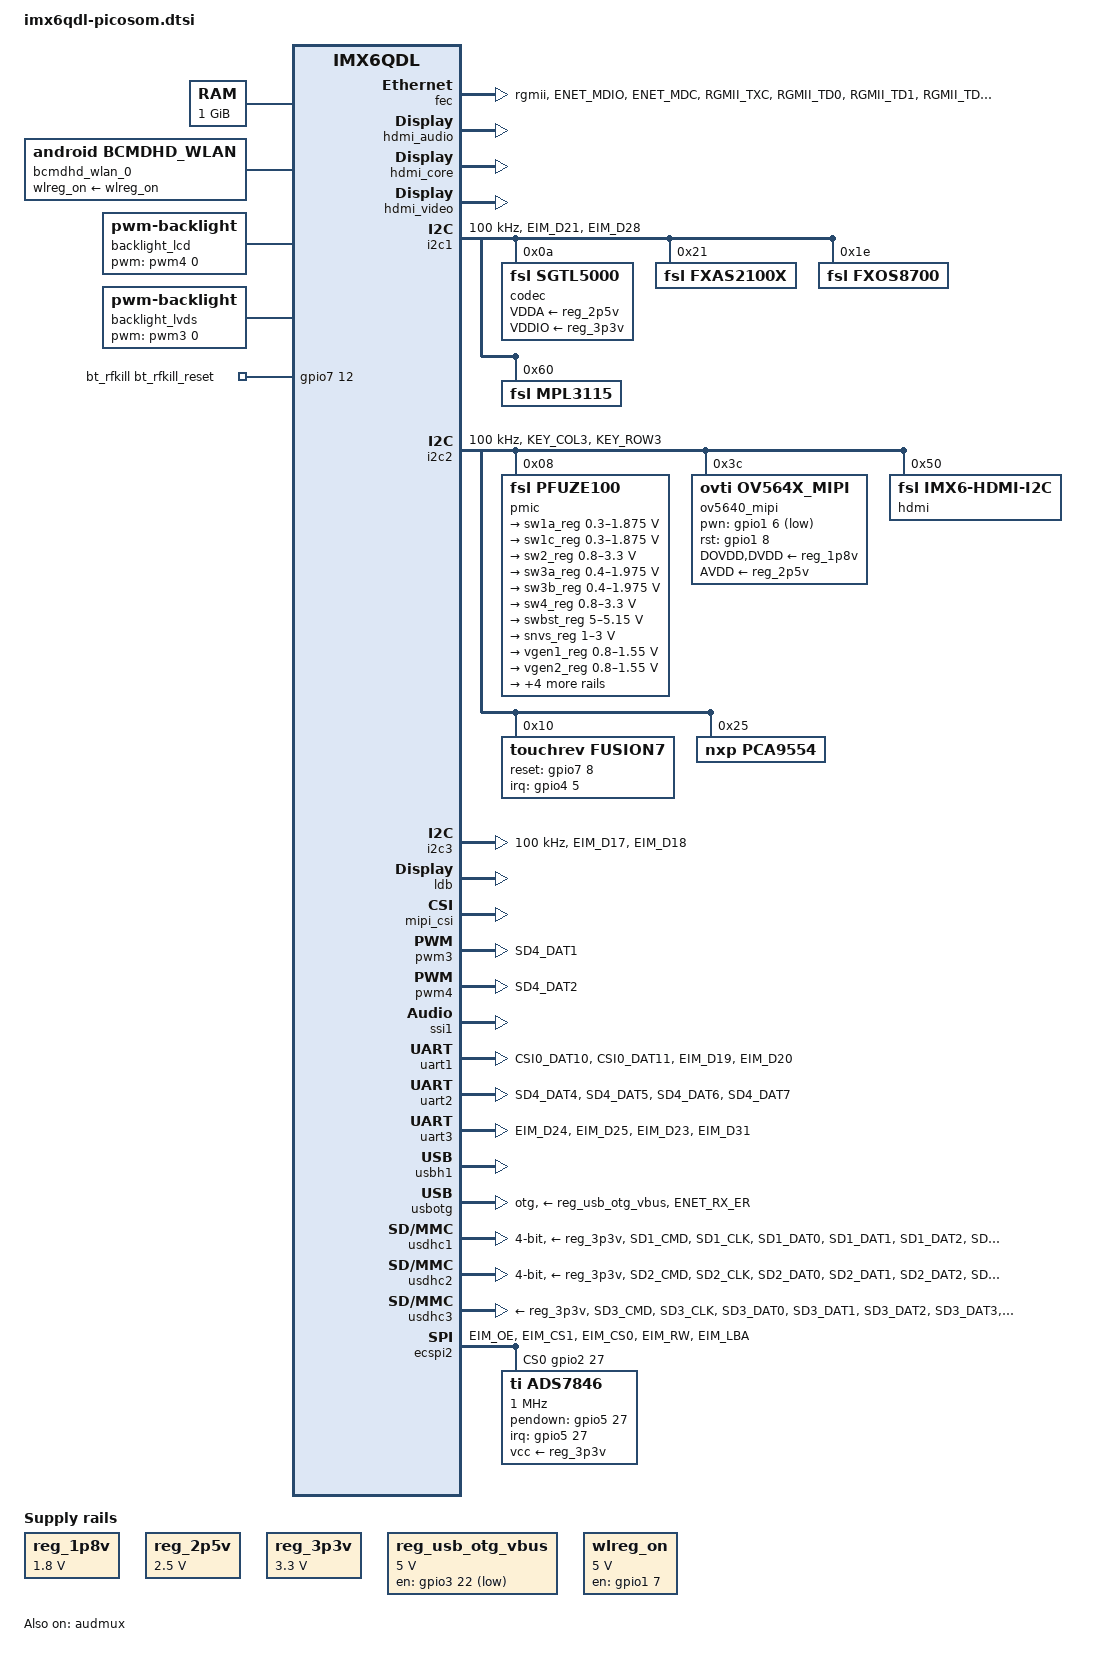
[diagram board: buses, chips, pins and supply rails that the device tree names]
/*
 * Copyright 2015 Technexion Ltd.
 * Copyright 2012 Freescale Semiconductor, Inc.
 * Copyright 2011 Linaro Ltd.
 *
 * The code contained herein is licensed under the GNU General Public
 * License. You may obtain a copy of the GNU General Public License
 * Version 2 or later at the following locations:
 *
 * http://www.opensource.org/licenses/gpl-license.html
 * http://www.gnu.org/copyleft/gpl.html
 */

/ {
	aliases {
		mxcfb0 = &mxcfb1;
		mxcfb1 = &mxcfb2;
		mxcfb2 = &mxcfb3;
		mxcfb3 = &mxcfb4;
	};

	memory {
		reg = <0x10000000 0x40000000>;
	};

	regulators {
		compatible = "simple-bus";

		reg_1p8v: 1p8v {
			compatible = "regulator-fixed";
			regulator-name = "1P8V";
			regulator-min-microvolt = <1800000>;
			regulator-max-microvolt = <1800000>;
			regulator-always-on;
		};

		reg_2p5v: 2p5v {
			compatible = "regulator-fixed";
			regulator-name = "2P5V";
			regulator-min-microvolt = <2500000>;
			regulator-max-microvolt = <2500000>;
			regulator-always-on;
		};

		reg_3p3v: 3p3v {
			compatible = "regulator-fixed";
			regulator-name = "3P3V";
			regulator-min-microvolt = <3300000>;
			regulator-max-microvolt = <3300000>;
			regulator-always-on;
		};

		reg_usb_otg_vbus: usb_otg_vbus {
			compatible = "regulator-fixed";
			regulator-name = "usb_otg_vbus";
			regulator-min-microvolt = <5000000>;
			regulator-max-microvolt = <5000000>;
			gpio = <&gpio3 22 0>;
		};

		wlreg_on: wlreg_on {
			compatible = "regulator-fixed";
			regulator-min-microvolt = <5000000>;
			regulator-max-microvolt = <5000000>;
			regulator-name = "wlreg_on";
			gpio = <&gpio1 7 GPIO_ACTIVE_HIGH>;
			enable-active-high;
		};
	};

	bcmdhd_wlan_0: bcmdhd_wlan@0 {
		compatible = "android,bcmdhd_wlan";
		pinctrl-0 = <&pinctrl_wifi_ctrl>;
		wlreg_on-supply = <&wlreg_on>;
	};

	gpio-edm {
		compatible = "gpio-edm";
		gpio_exp0 {
			label = "GPIO_EXP0";
			gpios = <&pca9554 0 0>;
			dir   = "in";
		};
		gpio_exp1 {
			label = "GPIO_EXP1";
			gpios = <&pca9554 1 0>;
			dir   = "in";
		};
		gpio_exp2 {
			label = "GPIO_EXP2";
			gpios = <&pca9554 2 0>;
			dir   = "in";
		};
		gpio_exp3 {
			label = "GPIO_EXP3";
			gpios = <&pca9554 3 0>;
			dir   = "in";
		};
		gpio_exp4 {
			label = "GPIO_EXP4";
			gpios = <&pca9554 4 0>;
			dir   = "in";
		};
		gpio_exp5 {
			label = "GPIO_EXP5";
			gpios = <&pca9554 5 0>;
			dir   = "in";
		};
	};

	sound {
		compatible = "fsl,imx6-picosom-sgtl5000", 
                             "fsl,imx-audio-sgtl5000";
		model = "sgtl5000-audio";
		cpu-dai = <&ssi1>;
		audio-codec = <&codec>;
		audio-routing =
			"MIC_IN", "Mic Jack",
			"Mic Jack", "Mic Bias",
			"Headphone Jack", "HP_OUT";
		mux-int-port = <1>;
		mux-ext-port = <3>;
	};

        sound-spdif {
                compatible = "fsl,imx-audio-spdif";
                model = "imx-spdif";
                spdif-controller = <&spdif>;
                spdif-out;
        };

	sound-hdmi {
		compatible = "fsl,imx6q-audio-hdmi",
			     "fsl,imx-audio-hdmi";
		model = "imx-audio-hdmi";
		hdmi-controller = <&hdmi_audio>;
	};

	mxcfb1: fb@0 {
		compatible = "fsl,mxc_sdc_fb";
		disp_dev = "hdmi";
		interface_pix_fmt = "RGB24";
		mode_str ="1920x1080M@60";
		default_bpp = <32>;
		int_clk = <0>;
		late_init = <0>;
		status = "disabled";
	};

        mxcfb2: fb@1 {
                compatible = "fsl,mxc_sdc_fb";
                disp_dev = "ldb";
                interface_pix_fmt = "RGB666";
                default_bpp = <24>;
                int_clk = <0>;
                late_init = <0>;
                status = "disabled";
        };

	mxcfb3: fb@2 {
		compatible = "fsl,mxc_sdc_fb";
		disp_dev = "lcd";
		interface_pix_fmt = "RGB565";
		mode_str ="CLAA-WVGA";
		default_bpp = <16>;
		int_clk = <0>;
		late_init = <0>;
		status = "disabled";
	};

	mxcfb4: fb@3 {
		compatible = "fsl,mxc_sdc_fb";
		disp_dev = "ldb";
		interface_pix_fmt = "RGB666";
		mode_str ="LDB-XGA";
		default_bpp = <16>;
		int_clk = <0>;
		late_init = <0>;
		status = "disabled";
	};

	lcd@0 {
		compatible = "fsl,lcd";
		ipu_id = <0>;
		disp_id = <0>;
		default_ifmt = "RGB565";
		pinctrl-names = "default";
		pinctrl-0 = <&pinctrl_ipu1_1>;
		status = "okay";
	};

	backlight_lcd {
		compatible = "pwm-backlight";
		pwms = <&pwm4 0 5000000>;
		brightness-levels = <0 4 8 16 32 64 128 255>;
		default-brightness-level = <7>;
	};

	backlight_lvds {
		compatible = "pwm-backlight";
		pwms = <&pwm3 0 5000000>;
		brightness-levels = <0 4 8 16 32 64 128 255>;
		default-brightness-level = <7>;
	};

	v4l2_cap_0 {
		compatible = "fsl,imx6q-v4l2-capture";
		ipu_id = <0>;
		csi_id = <0>;
		mclk_source = <0>;
		status = "okay";
	};

	v4l2_out {
		compatible = "fsl,mxc_v4l2_output";
		status = "okay";
	};

	bt_rfkill {
		compatible = "net,rfkill-gpio";
		pinctrl-names = "default";
		pinctrl-0 = <&pinctrl_bt_ctrl>;
		name = "bt_rfkill";
		type = <2>;     /* bluetooth */
		bt_rfkill_reset-gpios = <&gpio7 12 0>;
	};
};


&audmux {
	pinctrl-names = "default";
	pinctrl-0 = <&pinctrl_audmux_2>;
	status = "okay";
};

&clks {
    fsl,ldb-di0-parent = <&clks IMX6QDL_CLK_PLL2_PFD0_352M>;
    fsl,ldb-di1-parent = <&clks IMX6QDL_CLK_PLL2_PFD0_352M>;
};

&fec {
	pinctrl-names = "default";
	pinctrl-0 = <&pinctrl_enet_3>;
	phy-mode = "rgmii";
	status = "okay";
};

&hdmi_audio {
	status = "okay";
};

&hdmi_core {
	ipu_id = <0>;
	disp_id = <0>;
	status = "okay";
};

&hdmi_video {
	fsl,phy_reg_vlev = <0x0294>;
	fsl,phy_reg_cksymtx = <0x800d>;
	status = "okay";
};

&i2c1 {
	clock-frequency = <100000>;
	pinctrl-names = "default";
	pinctrl-0 = <&pinctrl_i2c1_1>;
	status = "okay";

	codec: sgtl5000@0a {
		compatible = "fsl,sgtl5000";
		reg = <0x0a>;
		clocks = <&clks 201>;
		VDDA-supply = <&reg_2p5v>;
		VDDIO-supply = <&reg_3p3v>;
	};

	fxas2100x@21 {
		compatible = "fsl,fxas2100x";
		reg = <0x21>;
	};

	fxos8700@1e {
		compatible = "fsl,fxos8700";
		reg = <0x1e>;
	};

	mpl3115@60 {
		compatible = "fsl,mpl3115";
		reg = <0x60>;
	};
};

&i2c2 {
	clock-frequency = <100000>;
	pinctrl-names = "default";
	pinctrl-0 = <&pinctrl_i2c2_2>;
	status = "okay";

	pmic: pfuze100@08 {
		compatible = "fsl,pfuze100";
		reg = <0x08>;

		regulators {
			sw1a_reg: sw1ab {
				regulator-min-microvolt = <300000>;
				regulator-max-microvolt = <1875000>;
				regulator-boot-on;
				regulator-always-on;
				regulator-ramp-delay = <6250>;
			};

			sw1c_reg: sw1c {
				regulator-min-microvolt = <300000>;
				regulator-max-microvolt = <1875000>;
				regulator-boot-on;
				regulator-always-on;
				regulator-ramp-delay = <6250>;
			};

			sw2_reg: sw2 {
				regulator-min-microvolt = <800000>;
				regulator-max-microvolt = <3300000>;
				regulator-boot-on;
				regulator-always-on;
			};

			sw3a_reg: sw3a {
				regulator-min-microvolt = <400000>;
				regulator-max-microvolt = <1975000>;
				regulator-boot-on;
				regulator-always-on;
			};

			sw3b_reg: sw3b {
				regulator-min-microvolt = <400000>;
				regulator-max-microvolt = <1975000>;
				regulator-boot-on;
				regulator-always-on;
			};

			sw4_reg: sw4 {
				regulator-min-microvolt = <800000>;
				regulator-max-microvolt = <3300000>;
			};

			swbst_reg: swbst {
				regulator-min-microvolt = <5000000>;
				regulator-max-microvolt = <5150000>;
			};

			snvs_reg: vsnvs {
				regulator-min-microvolt = <1000000>;
				regulator-max-microvolt = <3000000>;
				regulator-boot-on;
				regulator-always-on;
			};

			vref_reg: vrefddr {
				regulator-boot-on;
				regulator-always-on;
			};

			vgen1_reg: vgen1 {
				regulator-min-microvolt = <800000>;
				regulator-max-microvolt = <1550000>;
			};

			vgen2_reg: vgen2 {
				regulator-min-microvolt = <800000>;
				regulator-max-microvolt = <1550000>;
				regulator-microvolts = <1500000>;
				regulator-microvolt = <1500000>;
				regulator-boot-on;
				regulator-always-on;
			};

			vgen3_reg: vgen3 {
				regulator-min-microvolt = <1800000>;
				regulator-max-microvolt = <3300000>;
			};

			vgen4_reg: vgen4 {
				regulator-min-microvolt = <1800000>;
				regulator-max-microvolt = <3300000>;
				regulator-always-on;
			};

			vgen5_reg: vgen5 {
				regulator-min-microvolt = <1800000>;
				regulator-max-microvolt = <3300000>;
				regulator-always-on;
			};

			vgen6_reg: vgen6 {
				regulator-min-microvolt = <1800000>;
				regulator-max-microvolt = <3300000>;
				regulator-always-on;
			};
		};
	};

	ov5640_mipi: ov5640_mipi@3c {
		compatible = "ovti,ov564x_mipi";
		reg = <0x3c>;
		clocks = <&clks 200>;
		clock-names = "csi_mclk";
		DOVDD-supply = <&reg_1p8v>;
		AVDD-supply = <&reg_2p5v>;
		DVDD-supply = <&reg_1p8v>;
		pwn-gpios = <&gpio1 6 1>;
		rst-gpios = <&gpio1 8 0>;
		ipu_id = <0>;
		csi_id = <0>;
		mclk = <24000000>;
		mclk_source = <0>;
	};

		hdmi: edid@50 {
		compatible = "fsl,imx6-hdmi-i2c";
		reg = <0x50>;
	};

	fusion7: fusion7@10 {
		compatible = "touchrev,fusion7";
		reg = <0x10>; /* The reg property describes the address of the device's resources within the address space defined by its parent bus.  */
		pinctrl-0 = <&pinctrl_gpio>;
		pinctrl-names = "default";
		interrupt-parent = <&gpio4>;
		interrupts = <5 0>;
		reset-gpios=<&gpio7 8 0>; /*pin264  SD3_RST GPIO(7, 8)   gpio200   Touchscreen Reset  Output*/
		touch_xmax=<1499>;
		touch_ymax=<899>;
		flip_x=<0>;
		flip_y=<0>;
	};

	pca9554: pca9554@25 {
		compatible = "nxp,pca9554";
		gpio-controller;
		#gpio-cells = <2>;
		#interrupt-cells = <2>;
		reg = <0x25>;
	};

};

&i2c3 {
        clock-frequency = <100000>;
        pinctrl-names = "default";
        pinctrl-0 = <&pinctrl_i2c3_1>;
        status = "okay";
};

/*
For reference here, the PAD_CTL bitfield definition from
Documentation/devicetree/bindings/pinctrl/fsl,imx6q-pinctrl.txt

CONFIG bits definition:
PAD_CTL_HYS                     (1 << 16)
PAD_CTL_PUS_100K_DOWN           (0 << 14)
PAD_CTL_PUS_47K_UP              (1 << 14)
PAD_CTL_PUS_100K_UP             (2 << 14)
PAD_CTL_PUS_22K_UP              (3 << 14)
PAD_CTL_PUE                     (1 << 13)
PAD_CTL_PKE                     (1 << 12)
PAD_CTL_ODE                     (1 << 11)
PAD_CTL_SPEED_LOW               (1 << 6)
PAD_CTL_SPEED_MED               (2 << 6)
PAD_CTL_SPEED_HIGH              (3 << 6)
PAD_CTL_DSE_DISABLE             (0 << 3)
PAD_CTL_DSE_240ohm              (1 << 3)
PAD_CTL_DSE_120ohm              (2 << 3)
PAD_CTL_DSE_80ohm               (3 << 3)
PAD_CTL_DSE_60ohm               (4 << 3)
PAD_CTL_DSE_48ohm               (5 << 3)
PAD_CTL_DSE_40ohm               (6 << 3)
PAD_CTL_DSE_34ohm               (7 << 3)
PAD_CTL_SRE_FAST                (1 << 0)
PAD_CTL_SRE_SLOW                (0 << 0)

Example, the Control Pad Setting

    0x0f0b0

corresponds to:

   0b1111000010110000

which is:

   PAD_CTL_PUS_22K_UP | PAD_CTL_PUE | PAD_CTL_PKE |
   PAD_CTL_SPEED_MED | PAD_CTL_DSE_40ohm

For more information about this, refer to the IOMUXC section of the i.MX6
reference manual.

*/

&iomuxc {

	pinctrl-names = "default";
	pinctrl-0 = <&pinctrl_hog_1>;

	audmux {
		pinctrl_audmux_1: audmux-1 {
			fsl,pins = <
				MX6QDL_PAD_SD2_DAT0__AUD4_RXD  0x130b0
				MX6QDL_PAD_SD2_DAT3__AUD4_TXC  0x130b0
				MX6QDL_PAD_SD2_DAT2__AUD4_TXD  0x110b0
				MX6QDL_PAD_SD2_DAT1__AUD4_TXFS 0x130b0
			>;
		};

		pinctrl_audmux_2: audmux-2 {
			fsl,pins = <
				MX6QDL_PAD_CSI0_DAT7__AUD3_RXD  0x130b0
				MX6QDL_PAD_CSI0_DAT4__AUD3_TXC  0x130b0
				MX6QDL_PAD_CSI0_DAT5__AUD3_TXD  0x110b0
				MX6QDL_PAD_CSI0_DAT6__AUD3_TXFS 0x130b0
			>;
		};

		pinctrl_audmux_3: audmux-3 {
			fsl,pins = <
				MX6QDL_PAD_DISP0_DAT16__AUD5_TXC  0x130b0
				MX6QDL_PAD_DISP0_DAT18__AUD5_TXFS 0x130b0
				MX6QDL_PAD_DISP0_DAT19__AUD5_RXD  0x130b0
			>;
		};
	};

	ecspi1 {
		pinctrl_ecspi1_cs_1: ecspi1_cs_grp-1 {
			fsl,pins = <
				MX6QDL_PAD_EIM_D19__GPIO3_IO19 0x80000000
			>;
		};

		pinctrl_ecspi1_1: ecspi1grp-1 {
			fsl,pins = <
				MX6QDL_PAD_EIM_D17__ECSPI1_MISO 0x100b1
				MX6QDL_PAD_EIM_D18__ECSPI1_MOSI 0x100b1
				MX6QDL_PAD_EIM_D16__ECSPI1_SCLK 0x100b1
			>;
		};

		pinctrl_ecspi1_2: ecspi1grp-2 {
			fsl,pins = <
				MX6QDL_PAD_KEY_COL1__ECSPI1_MISO 0x100b1
				MX6QDL_PAD_KEY_ROW0__ECSPI1_MOSI 0x100b1
				MX6QDL_PAD_KEY_COL0__ECSPI1_SCLK 0x100b1
			>;
		};
	};

	ecspi3 {
		pinctrl_ecspi3_1: ecspi3grp-1 {
			fsl,pins = <
				MX6QDL_PAD_DISP0_DAT2__ECSPI3_MISO 0x100b1
				MX6QDL_PAD_DISP0_DAT1__ECSPI3_MOSI 0x100b1
				MX6QDL_PAD_DISP0_DAT0__ECSPI3_SCLK 0x100b1
			>;
		};
	};

	enet {
		pinctrl_enet_1: enetgrp-1 {
			fsl,pins = <
				MX6QDL_PAD_ENET_MDIO__ENET_MDIO       0x1b0b0
				MX6QDL_PAD_ENET_MDC__ENET_MDC         0x1b0b0
				MX6QDL_PAD_RGMII_TXC__RGMII_TXC       0x1b0b0
				MX6QDL_PAD_RGMII_TD0__RGMII_TD0       0x1b0b0
				MX6QDL_PAD_RGMII_TD1__RGMII_TD1       0x1b0b0
				MX6QDL_PAD_RGMII_TD2__RGMII_TD2       0x1b0b0
				MX6QDL_PAD_RGMII_TD3__RGMII_TD3       0x1b0b0
				MX6QDL_PAD_RGMII_TX_CTL__RGMII_TX_CTL 0x1b0b0
				MX6QDL_PAD_ENET_REF_CLK__ENET_TX_CLK  0x1b0b0
				MX6QDL_PAD_RGMII_RXC__RGMII_RXC       0x1b0b0
				MX6QDL_PAD_RGMII_RD0__RGMII_RD0       0x1b0b0
				MX6QDL_PAD_RGMII_RD1__RGMII_RD1       0x1b0b0
				MX6QDL_PAD_RGMII_RD2__RGMII_RD2       0x1b0b0
				MX6QDL_PAD_RGMII_RD3__RGMII_RD3       0x1b0b0
				MX6QDL_PAD_RGMII_RX_CTL__RGMII_RX_CTL 0x1b0b0
				MX6QDL_PAD_GPIO_16__ENET_REF_CLK      0x4001b0a8
			>;
		};

		pinctrl_enet_2: enetgrp-2 {
			fsl,pins = <
				MX6QDL_PAD_KEY_COL1__ENET_MDIO        0x1b0b0
				MX6QDL_PAD_KEY_COL2__ENET_MDC         0x1b0b0
				MX6QDL_PAD_RGMII_TXC__RGMII_TXC       0x1b0b0
				MX6QDL_PAD_RGMII_TD0__RGMII_TD0       0x1b0b0
				MX6QDL_PAD_RGMII_TD1__RGMII_TD1       0x1b0b0
				MX6QDL_PAD_RGMII_TD2__RGMII_TD2       0x1b0b0
				MX6QDL_PAD_RGMII_TD3__RGMII_TD3       0x1b0b0
				MX6QDL_PAD_RGMII_TX_CTL__RGMII_TX_CTL 0x1b0b0
				MX6QDL_PAD_ENET_REF_CLK__ENET_TX_CLK  0x1b0b0
				MX6QDL_PAD_RGMII_RXC__RGMII_RXC       0x1b0b0
				MX6QDL_PAD_RGMII_RD0__RGMII_RD0       0x1b0b0
				MX6QDL_PAD_RGMII_RD1__RGMII_RD1       0x1b0b0
				MX6QDL_PAD_RGMII_RD2__RGMII_RD2       0x1b0b0
				MX6QDL_PAD_RGMII_RD3__RGMII_RD3       0x1b0b0
				MX6QDL_PAD_RGMII_RX_CTL__RGMII_RX_CTL 0x1b0b0
				MX6QDL_PAD_GPIO_16__ENET_REF_CLK      0x4001b0a8
			>;
		};

		pinctrl_enet_3: enetgrp-3 {
			fsl,pins = <
				MX6QDL_PAD_ENET_MDIO__ENET_MDIO       0x1b0b0
				MX6QDL_PAD_ENET_MDC__ENET_MDC         0x1b0b0
				MX6QDL_PAD_RGMII_TXC__RGMII_TXC       0x1b0b0
				MX6QDL_PAD_RGMII_TD0__RGMII_TD0       0x1b0b0
				MX6QDL_PAD_RGMII_TD1__RGMII_TD1       0x1b0b0
				MX6QDL_PAD_RGMII_TD2__RGMII_TD2       0x1b0b0
				MX6QDL_PAD_RGMII_TD3__RGMII_TD3       0x1b0b0
				MX6QDL_PAD_RGMII_TX_CTL__RGMII_TX_CTL 0x1b0b0
				MX6QDL_PAD_ENET_REF_CLK__ENET_TX_CLK  0x1b0b0
				MX6QDL_PAD_RGMII_RXC__RGMII_RXC       0x1b0b0
				MX6QDL_PAD_RGMII_RD0__RGMII_RD0       0x1b0b0
				MX6QDL_PAD_RGMII_RD1__RGMII_RD1       0x1b0b0
				MX6QDL_PAD_RGMII_RD2__RGMII_RD2       0x1b0b0
				MX6QDL_PAD_RGMII_RD3__RGMII_RD3       0x1b0b0
				MX6QDL_PAD_RGMII_RX_CTL__RGMII_RX_CTL 0x1b0b0
				MX6QDL_PAD_ENET_TX_EN__ENET_TX_EN     0x1b0b0
			>;
		};

		pinctrl_enet_irq: enetirqgrp {
			fsl,pins = <
				MX6QDL_PAD_GPIO_6__ENET_IRQ	      0x000b1
			>;
		};
	};

	esai {
		pinctrl_esai_1: esaigrp-1 {
			fsl,pins = <
				MX6QDL_PAD_ENET_RXD0__ESAI_TX_HF_CLK 0x1b030
				MX6QDL_PAD_ENET_CRS_DV__ESAI_TX_CLK  0x1b030
				MX6QDL_PAD_ENET_RXD1__ESAI_TX_FS     0x1b030
				MX6QDL_PAD_ENET_TX_EN__ESAI_TX3_RX2  0x1b030
				MX6QDL_PAD_ENET_TXD1__ESAI_TX2_RX3   0x1b030
				MX6QDL_PAD_ENET_TXD0__ESAI_TX4_RX1   0x1b030
				MX6QDL_PAD_ENET_MDC__ESAI_TX5_RX0    0x1b030
				MX6QDL_PAD_NANDF_CS2__ESAI_TX0       0x1b030
				MX6QDL_PAD_NANDF_CS3__ESAI_TX1       0x1b030
			>;
		};

		pinctrl_esai_2: esaigrp-2 {
			fsl,pins = <
				MX6QDL_PAD_ENET_CRS_DV__ESAI_TX_CLK 0x1b030
				MX6QDL_PAD_ENET_RXD1__ESAI_TX_FS    0x1b030
				MX6QDL_PAD_ENET_TX_EN__ESAI_TX3_RX2 0x1b030
				MX6QDL_PAD_GPIO_5__ESAI_TX2_RX3     0x1b030
				MX6QDL_PAD_ENET_TXD0__ESAI_TX4_RX1  0x1b030
				MX6QDL_PAD_ENET_MDC__ESAI_TX5_RX0   0x1b030
				MX6QDL_PAD_GPIO_17__ESAI_TX0        0x1b030
				MX6QDL_PAD_NANDF_CS3__ESAI_TX1      0x1b030
				MX6QDL_PAD_ENET_MDIO__ESAI_RX_CLK   0x1b030
				MX6QDL_PAD_GPIO_9__ESAI_RX_FS       0x1b030
			>;
		};
	};

	flexcan1 {
		pinctrl_flexcan1_1: flexcan1grp-1 {
			fsl,pins = <
				MX6QDL_PAD_KEY_ROW2__FLEXCAN1_RX 0x80000000
				MX6QDL_PAD_KEY_COL2__FLEXCAN1_TX 0x80000000
			>;
		};

		pinctrl_flexcan1_2: flexcan1grp-2 {
			fsl,pins = <
				MX6QDL_PAD_GPIO_7__FLEXCAN1_TX   0x80000000
				MX6QDL_PAD_KEY_ROW2__FLEXCAN1_RX 0x80000000
			>;
		};
	};

	flexcan2 {
		pinctrl_flexcan2_1: flexcan2grp-1 {
			fsl,pins = <
				MX6QDL_PAD_KEY_COL4__FLEXCAN2_TX 0x80000000
				MX6QDL_PAD_KEY_ROW4__FLEXCAN2_RX 0x80000000
			>;
		};
	};

	gpmi-nand {
		pinctrl_gpmi_nand_1: gpmi-nand-1 {
			fsl,pins = <
				MX6QDL_PAD_NANDF_CLE__NAND_CLE     0xb0b1
				MX6QDL_PAD_NANDF_ALE__NAND_ALE     0xb0b1
				MX6QDL_PAD_NANDF_WP_B__NAND_WP_B   0xb0b1
				MX6QDL_PAD_NANDF_RB0__NAND_READY_B 0xb000
				MX6QDL_PAD_NANDF_CS0__NAND_CE0_B   0xb0b1
				MX6QDL_PAD_NANDF_CS1__NAND_CE1_B   0xb0b1
				MX6QDL_PAD_SD4_CMD__NAND_RE_B      0xb0b1
				MX6QDL_PAD_SD4_CLK__NAND_WE_B      0xb0b1
				MX6QDL_PAD_NANDF_D0__NAND_DATA00   0xb0b1
				MX6QDL_PAD_NANDF_D1__NAND_DATA01   0xb0b1
				MX6QDL_PAD_NANDF_D2__NAND_DATA02   0xb0b1
				MX6QDL_PAD_NANDF_D3__NAND_DATA03   0xb0b1
				MX6QDL_PAD_NANDF_D4__NAND_DATA04   0xb0b1
				MX6QDL_PAD_NANDF_D5__NAND_DATA05   0xb0b1
				MX6QDL_PAD_NANDF_D6__NAND_DATA06   0xb0b1
				MX6QDL_PAD_NANDF_D7__NAND_DATA07   0xb0b1
				MX6QDL_PAD_SD4_DAT0__NAND_DQS      0x00b1
			>;
		};
	};

	hdmi_hdcp {
		pinctrl_hdmi_hdcp_1: hdmihdcpgrp-1 {
			fsl,pins = <
				MX6QDL_PAD_KEY_COL3__HDMI_TX_DDC_SCL 0x4001b8b1
				MX6QDL_PAD_KEY_ROW3__HDMI_TX_DDC_SDA 0x4001b8b1
			>;
		};

		pinctrl_hdmi_hdcp_2: hdmihdcpgrp-2 {
			fsl,pins = <
				MX6QDL_PAD_EIM_EB2__HDMI_TX_DDC_SCL 0x4001b8b1
				MX6QDL_PAD_EIM_D16__HDMI_TX_DDC_SDA 0x4001b8b1
			>;
		};

		pinctrl_hdmi_hdcp_3: hdmihdcpgrp-3 {
			fsl,pins = <
				MX6QDL_PAD_EIM_EB2__HDMI_TX_DDC_SCL  0x4001b8b1
				MX6QDL_PAD_KEY_ROW3__HDMI_TX_DDC_SDA 0x4001b8b1
			>;
		};
	};

	hdmi_cec {
		pinctrl_hdmi_cec_1: hdmicecgrp-1 {
			fsl,pins = <
				MX6QDL_PAD_EIM_A25__HDMI_TX_CEC_LINE 0x1f8b0
			>;
		};

		pinctrl_hdmi_cec_2: hdmicecgrp-2 {
			fsl,pins = <
				MX6QDL_PAD_KEY_ROW2__HDMI_TX_CEC_LINE 0x1f8b0
			>;
		};
	};

	i2c1 {
		pinctrl_i2c1_1: i2c1grp-1 {
			fsl,pins = <
				MX6QDL_PAD_EIM_D21__I2C1_SCL 0x4001b8b1
				MX6QDL_PAD_EIM_D28__I2C1_SDA 0x4001b8b1
			>;
		};

		pinctrl_i2c1_2: i2c1grp-2 {
			fsl,pins = <
				MX6QDL_PAD_CSI0_DAT8__I2C1_SDA 0x4001b8b1
				MX6QDL_PAD_CSI0_DAT9__I2C1_SCL 0x4001b8b1
			>;
		};
	};

	i2c2 {
		pinctrl_i2c2_1: i2c2grp-1 {
			fsl,pins = <
				MX6QDL_PAD_EIM_EB2__I2C2_SCL 0x4001b8b1
				MX6QDL_PAD_EIM_D16__I2C2_SDA 0x4001b8b1
			>;
		};

		pinctrl_i2c2_2: i2c2grp-2 {
			fsl,pins = <
				MX6QDL_PAD_KEY_COL3__I2C2_SCL 0x4001b8b1
				MX6QDL_PAD_KEY_ROW3__I2C2_SDA 0x4001b8b1
			>;
		};

		pinctrl_i2c2_3: i2c2grp-3 {
			fsl,pins = <
				MX6QDL_PAD_EIM_EB2__I2C2_SCL  0x4001b8b1
				MX6QDL_PAD_KEY_ROW3__I2C2_SDA 0x4001b8b1
			>;
		};
	};

	i2c3 {
		pinctrl_i2c3_1: i2c3grp-1 {
			fsl,pins = <
				MX6QDL_PAD_EIM_D17__I2C3_SCL 0x4001b8b1
				MX6QDL_PAD_EIM_D18__I2C3_SDA 0x4001b8b1
			>;
		};

		pinctrl_i2c3_2: i2c3grp-2 {
			fsl,pins = <
				MX6QDL_PAD_GPIO_3__I2C3_SCL 0x4001b8b1
				MX6QDL_PAD_GPIO_6__I2C3_SDA 0x4001b8b1
			>;
		};

		pinctrl_i2c3_3: i2c3grp-3 {
			fsl,pins = <
				MX6QDL_PAD_GPIO_5__I2C3_SCL  0x4001b8b1
				MX6QDL_PAD_GPIO_16__I2C3_SDA 0x4001b8b1
			>;
		};

		pinctrl_i2c3_4: i2c3grp-4 {
			fsl,pins = <
				MX6QDL_PAD_GPIO_3__I2C3_SCL  0x4001b8b1
				MX6QDL_PAD_EIM_D18__I2C3_SDA 0x4001b8b1
			>;
		};
	};

	ipu1 {
		pinctrl_ipu1_1: ipu1grp-1 {
			fsl,pins = <
				MX6QDL_PAD_DI0_DISP_CLK__IPU1_DI0_DISP_CLK 0x10
				MX6QDL_PAD_DI0_PIN15__IPU1_DI0_PIN15       0x10
				MX6QDL_PAD_DI0_PIN2__IPU1_DI0_PIN02        0x10
				MX6QDL_PAD_DI0_PIN3__IPU1_DI0_PIN03        0x10
				MX6QDL_PAD_DI0_PIN4__IPU1_DI0_PIN04        0x80000000
				MX6QDL_PAD_DISP0_DAT0__IPU1_DISP0_DATA00   0x10
				MX6QDL_PAD_DISP0_DAT1__IPU1_DISP0_DATA01   0x10
				MX6QDL_PAD_DISP0_DAT2__IPU1_DISP0_DATA02   0x10
				MX6QDL_PAD_DISP0_DAT3__IPU1_DISP0_DATA03   0x10
				MX6QDL_PAD_DISP0_DAT4__IPU1_DISP0_DATA04   0x10
				MX6QDL_PAD_DISP0_DAT5__IPU1_DISP0_DATA05   0x10
				MX6QDL_PAD_DISP0_DAT6__IPU1_DISP0_DATA06   0x10
				MX6QDL_PAD_DISP0_DAT7__IPU1_DISP0_DATA07   0x10
				MX6QDL_PAD_DISP0_DAT8__IPU1_DISP0_DATA08   0x10
				MX6QDL_PAD_DISP0_DAT9__IPU1_DISP0_DATA09   0x10
				MX6QDL_PAD_DISP0_DAT10__IPU1_DISP0_DATA10  0x10
				MX6QDL_PAD_DISP0_DAT11__IPU1_DISP0_DATA11  0x10
				MX6QDL_PAD_DISP0_DAT12__IPU1_DISP0_DATA12  0x10
				MX6QDL_PAD_DISP0_DAT13__IPU1_DISP0_DATA13  0x10
				MX6QDL_PAD_DISP0_DAT14__IPU1_DISP0_DATA14  0x10
				MX6QDL_PAD_DISP0_DAT15__IPU1_DISP0_DATA15  0x10
				MX6QDL_PAD_DISP0_DAT16__IPU1_DISP0_DATA16  0x10
				MX6QDL_PAD_DISP0_DAT17__IPU1_DISP0_DATA17  0x10
				MX6QDL_PAD_DISP0_DAT18__IPU1_DISP0_DATA18  0x10
				MX6QDL_PAD_DISP0_DAT19__IPU1_DISP0_DATA19  0x10
				MX6QDL_PAD_DISP0_DAT20__IPU1_DISP0_DATA20  0x10
				MX6QDL_PAD_DISP0_DAT21__IPU1_DISP0_DATA21  0x10
				MX6QDL_PAD_DISP0_DAT22__IPU1_DISP0_DATA22  0x10
				MX6QDL_PAD_DISP0_DAT23__IPU1_DISP0_DATA23  0x10
			>;
		};

		pinctrl_ipu1_2: ipu1grp-2 { /* parallel camera */
			fsl,pins = <
				MX6QDL_PAD_CSI0_DAT12__IPU1_CSI0_DATA12    0x80000000
				MX6QDL_PAD_CSI0_DAT13__IPU1_CSI0_DATA13    0x80000000
				MX6QDL_PAD_CSI0_DAT14__IPU1_CSI0_DATA14    0x80000000
				MX6QDL_PAD_CSI0_DAT15__IPU1_CSI0_DATA15    0x80000000
				MX6QDL_PAD_CSI0_DAT16__IPU1_CSI0_DATA16    0x80000000
				MX6QDL_PAD_CSI0_DAT17__IPU1_CSI0_DATA17    0x80000000
				MX6QDL_PAD_CSI0_DAT18__IPU1_CSI0_DATA18    0x80000000
				MX6QDL_PAD_CSI0_DAT19__IPU1_CSI0_DATA19    0x80000000
				MX6QDL_PAD_CSI0_DATA_EN__IPU1_CSI0_DATA_EN 0x80000000
				MX6QDL_PAD_CSI0_PIXCLK__IPU1_CSI0_PIXCLK   0x80000000
				MX6QDL_PAD_CSI0_MCLK__IPU1_CSI0_HSYNC      0x80000000
				MX6QDL_PAD_CSI0_VSYNC__IPU1_CSI0_VSYNC     0x80000000
			>;
		};

		pinctrl_ipu1_3: ipu1grp-3 { /* parallel port 16-bit */
			fsl,pins = <
				MX6QDL_PAD_CSI0_DAT4__IPU1_CSI0_DATA04   0x80000000
				MX6QDL_PAD_CSI0_DAT5__IPU1_CSI0_DATA05   0x80000000
				MX6QDL_PAD_CSI0_DAT6__IPU1_CSI0_DATA06   0x80000000
				MX6QDL_PAD_CSI0_DAT7__IPU1_CSI0_DATA07   0x80000000
				MX6QDL_PAD_CSI0_DAT8__IPU1_CSI0_DATA08   0x80000000
				MX6QDL_PAD_CSI0_DAT9__IPU1_CSI0_DATA09   0x80000000
				MX6QDL_PAD_CSI0_DAT10__IPU1_CSI0_DATA10  0x80000000
				MX6QDL_PAD_CSI0_DAT11__IPU1_CSI0_DATA11  0x80000000
				MX6QDL_PAD_CSI0_DAT12__IPU1_CSI0_DATA12  0x80000000
				MX6QDL_PAD_CSI0_DAT13__IPU1_CSI0_DATA13  0x80000000
				MX6QDL_PAD_CSI0_DAT14__IPU1_CSI0_DATA14  0x80000000
				MX6QDL_PAD_CSI0_DAT15__IPU1_CSI0_DATA15  0x80000000
				MX6QDL_PAD_CSI0_DAT16__IPU1_CSI0_DATA16  0x80000000
				MX6QDL_PAD_CSI0_DAT17__IPU1_CSI0_DATA17  0x80000000
				MX6QDL_PAD_CSI0_DAT18__IPU1_CSI0_DATA18  0x80000000
				MX6QDL_PAD_CSI0_DAT19__IPU1_CSI0_DATA19  0x80000000
				MX6QDL_PAD_CSI0_PIXCLK__IPU1_CSI0_PIXCLK 0x80000000
				MX6QDL_PAD_CSI0_MCLK__IPU1_CSI0_HSYNC    0x80000000
				MX6QDL_PAD_CSI0_VSYNC__IPU1_CSI0_VSYNC   0x80000000
			>;
		};
	};

	mlb {
		pinctrl_mlb_1: mlbgrp-1 {
			fsl,pins = <
				MX6QDL_PAD_GPIO_3__MLB_CLK  0x71
				MX6QDL_PAD_GPIO_6__MLB_SIG  0x71
				MX6QDL_PAD_GPIO_2__MLB_DATA 0x71
			>;
		};

		pinctrl_mlb_2: mlbgrp-2 {
			fsl,pins = <
				MX6QDL_PAD_ENET_TXD1__MLB_CLK 0x80000000
				MX6QDL_PAD_GPIO_6__MLB_SIG    0x80000000
				MX6QDL_PAD_GPIO_2__MLB_DATA   0x80000000
			>;
		};
	};

	pwm1 {
		pinctrl_pwm1_1: pwm1grp-1 {
			fsl,pins = <
				MX6QDL_PAD_SD1_DAT3__PWM1_OUT 0x1b0b1
			>;
		};
	};

	pwm3 {
		pinctrl_pwm3_1: pwm3grp-1 {
			fsl,pins = <
				MX6QDL_PAD_SD4_DAT1__PWM3_OUT 0x1b0b1
			>;
		};
	};

	spdif {
		pinctrl_spdif_1: spdifgrp-1 {
			fsl,pins = <
				MX6QDL_PAD_KEY_COL3__SPDIF_IN 0x1b0b0
			>;
		};

		pinctrl_spdif_2: spdifgrp-2 {
			fsl,pins = <
				MX6QDL_PAD_GPIO_16__SPDIF_IN  0x1b0b0
				MX6QDL_PAD_GPIO_17__SPDIF_OUT 0x1b0b0
			>;
		};
	};

	uart1 {
		pinctrl_uart1_1: uart1grp-1 {
			fsl,pins = <
				MX6QDL_PAD_CSI0_DAT10__UART1_TX_DATA 0x1b0b1
				MX6QDL_PAD_CSI0_DAT11__UART1_RX_DATA 0x1b0b1
			>;
		};

		pinctrl_uart1_2: uart1grp-2 {
			fsl,pins = <
				MX6QDL_PAD_CSI0_DAT10__UART1_TX_DATA 0x1b0b1
				MX6QDL_PAD_CSI0_DAT11__UART1_RX_DATA 0x1b0b1
				MX6QDL_PAD_EIM_D19__UART1_CTS_B 0x1b0b1
				MX6QDL_PAD_EIM_D20__UART1_RTS_B 0x1b0b1
			>;
		};
	};

	uart2 {
		pinctrl_uart2_1: uart2grp-1 {
			fsl,pins = <
				MX6QDL_PAD_EIM_D26__UART2_TX_DATA 0x1b0b1
				MX6QDL_PAD_EIM_D27__UART2_RX_DATA 0x1b0b1
			>;
		};

		pinctrl_uart2_2: uart2grp-2 {
			fsl,pins = <
				MX6QDL_PAD_SD4_DAT4__UART2_RX_DATA 0x1b0b1
				MX6QDL_PAD_SD4_DAT5__UART2_RTS_B 0x1b0b1
				MX6QDL_PAD_SD4_DAT6__UART2_CTS_B 0x1b0b1
				MX6QDL_PAD_SD4_DAT7__UART2_TX_DATA 0x1b0b1
			>;
		};
	};

	uart3 {
		pinctrl_uart3_1: uart3grp-1 {
			fsl,pins = <
				MX6QDL_PAD_SD4_CLK__UART3_RX_DATA 0x1b0b1
				MX6QDL_PAD_SD4_CMD__UART3_TX_DATA 0x1b0b1
				MX6QDL_PAD_EIM_D30__UART3_CTS_B   0x1b0b1
				MX6QDL_PAD_EIM_EB3__UART3_RTS_B   0x1b0b1
			>;
		};

		pinctrl_uart3dte_1: uart3dtegrp-1 {
			fsl,pins = <
				MX6QDL_PAD_SD4_CLK__UART3_TX_DATA 0x1b0b1
				MX6QDL_PAD_SD4_CMD__UART3_RX_DATA 0x1b0b1
				MX6QDL_PAD_EIM_D30__UART3_RTS_B   0x1b0b1
				MX6QDL_PAD_EIM_EB3__UART3_CTS_B   0x1b0b1
			>;
		};

		pinctrl_uart3_2: uart3grp-2 {
			fsl,pins = <
				MX6QDL_PAD_EIM_D24__UART3_TX_DATA 0x1b0b1
				MX6QDL_PAD_EIM_D25__UART3_RX_DATA 0x1b0b1
				MX6QDL_PAD_EIM_D23__UART3_CTS_B   0x1b0b1
				MX6QDL_PAD_EIM_EB3__UART3_RTS_B   0x1b0b1
			>;
		};

		pinctrl_uart3_3: uart3grp-3 {
			fsl,pins = <
				MX6QDL_PAD_EIM_D24__UART3_TX_DATA 0x1b0b1
				MX6QDL_PAD_EIM_D25__UART3_RX_DATA 0x1b0b1
				MX6QDL_PAD_EIM_D23__UART3_CTS_B   0x1b0b1
				MX6QDL_PAD_EIM_D31__UART3_RTS_B   0x1b0b1
			>;
		};
	};

	uart4 {
		pinctrl_uart4_1: uart4grp-1 {
			fsl,pins = <
				MX6QDL_PAD_KEY_COL0__UART4_TX_DATA 0x1b0b1
				MX6QDL_PAD_KEY_ROW0__UART4_RX_DATA 0x1b0b1
			>;
		};
	};

	uart5 {
		pinctrl_uart5_1: uart5grp-1 {
			fsl,pins = <
				MX6QDL_PAD_KEY_COL1__UART5_TX_DATA 0x1b0b1
				MX6QDL_PAD_KEY_ROW1__UART5_RX_DATA 0x1b0b1
				MX6QDL_PAD_KEY_COL4__UART5_RTS_B   0x1b0b1
				MX6QDL_PAD_KEY_ROW4__UART5_CTS_B   0x1b0b1
			>;
		};

		pinctrl_uart5dte_1: uart5dtegrp-1 {
			fsl,pins = <
				MX6QDL_PAD_KEY_ROW1__UART5_TX_DATA 0x1b0b1
				MX6QDL_PAD_KEY_COL1__UART5_RX_DATA 0x1b0b1
				MX6QDL_PAD_KEY_ROW4__UART5_RTS_B   0x1b0b1
				MX6QDL_PAD_KEY_COL4__UART5_CTS_B   0x1b0b1
			>;
		};
	};

	usbotg {
		pinctrl_usbotg_1: usbotggrp-1 {
			fsl,pins = <
				MX6QDL_PAD_GPIO_1__USB_OTG_ID 0x17059
			>;
		};

		pinctrl_usbotg_2: usbotggrp-2 {
			fsl,pins = <
				MX6QDL_PAD_ENET_RX_ER__USB_OTG_ID 0x17059
			>;
		};
	};

	usbh2 {
		pinctrl_usbh2_1: usbh2grp-1 {
			fsl,pins = <
				MX6QDL_PAD_RGMII_TXC__USB_H2_DATA      0x40013030
				MX6QDL_PAD_RGMII_TX_CTL__USB_H2_STROBE 0x40013030
			>;
		};

		pinctrl_usbh2_2: usbh2grp-2 {
			fsl,pins = <
				MX6QDL_PAD_RGMII_TX_CTL__USB_H2_STROBE 0x40017030
			>;
		};
	};

	usbh3 {
		pinctrl_usbh3_1: usbh3grp-1 {
			fsl,pins = <
				MX6QDL_PAD_RGMII_RX_CTL__USB_H3_DATA 0x40013030
				MX6QDL_PAD_RGMII_RXC__USB_H3_STROBE  0x40013030
			>;
		};

		pinctrl_usbh3_2: usbh3grp-2 {
			fsl,pins = <
				MX6QDL_PAD_RGMII_RXC__USB_H3_STROBE 0x40017030
			>;
		};
	};

	usdhc1 {
		pinctrl_usdhc1_1: usdhc1grp-1 {
			fsl,pins = <
				MX6QDL_PAD_SD1_CMD__SD1_CMD    0x17071
				MX6QDL_PAD_SD1_CLK__SD1_CLK    0x10071
				MX6QDL_PAD_SD1_DAT0__SD1_DATA0 0x17071
				MX6QDL_PAD_SD1_DAT1__SD1_DATA1 0x17071
				MX6QDL_PAD_SD1_DAT2__SD1_DATA2 0x17071
				MX6QDL_PAD_SD1_DAT3__SD1_DATA3 0x17071
			>;
		};
	};

	usdhc2 {
		pinctrl_usdhc2_1: usdhc2grp-1 {
			fsl,pins = <
				MX6QDL_PAD_SD2_CMD__SD2_CMD    0x17059
				MX6QDL_PAD_SD2_CLK__SD2_CLK    0x10059
				MX6QDL_PAD_SD2_DAT0__SD2_DATA0 0x17059
				MX6QDL_PAD_SD2_DAT1__SD2_DATA1 0x17059
				MX6QDL_PAD_SD2_DAT2__SD2_DATA2 0x17059
				MX6QDL_PAD_SD2_DAT3__SD2_DATA3 0x17059
				MX6QDL_PAD_NANDF_D4__SD2_DATA4 0x17059
				MX6QDL_PAD_NANDF_D5__SD2_DATA5 0x17059
				MX6QDL_PAD_NANDF_D6__SD2_DATA6 0x17059
				MX6QDL_PAD_NANDF_D7__SD2_DATA7 0x17059
			>;
		};

		pinctrl_usdhc2_2: usdhc2grp-2 {
			fsl,pins = <
				MX6QDL_PAD_SD2_CMD__SD2_CMD    0x17059
				MX6QDL_PAD_SD2_CLK__SD2_CLK    0x10059
				MX6QDL_PAD_SD2_DAT0__SD2_DATA0 0x17059
				MX6QDL_PAD_SD2_DAT1__SD2_DATA1 0x17059
				MX6QDL_PAD_SD2_DAT2__SD2_DATA2 0x17059
				MX6QDL_PAD_SD2_DAT3__SD2_DATA3 0x17059
			>;
		};
	};

	usdhc3 {
		pinctrl_usdhc3_1: usdhc3grp-1 {
			fsl,pins = <
				MX6QDL_PAD_SD3_CMD__SD3_CMD    0x17059
				MX6QDL_PAD_SD3_CLK__SD3_CLK    0x10059
				MX6QDL_PAD_SD3_DAT0__SD3_DATA0 0x17059
				MX6QDL_PAD_SD3_DAT1__SD3_DATA1 0x17059
				MX6QDL_PAD_SD3_DAT2__SD3_DATA2 0x17059
				MX6QDL_PAD_SD3_DAT3__SD3_DATA3 0x17059
				MX6QDL_PAD_SD3_DAT4__SD3_DATA4 0x17059
				MX6QDL_PAD_SD3_DAT5__SD3_DATA5 0x17059
				MX6QDL_PAD_SD3_DAT6__SD3_DATA6 0x17059
				MX6QDL_PAD_SD3_DAT7__SD3_DATA7 0x17059
			>;
		};

		pinctrl_usdhc3_1_100mhz: usdhc3grp-1-100mhz { /* 100Mhz */
			fsl,pins = <
				MX6QDL_PAD_SD3_CMD__SD3_CMD 0x170B9
				MX6QDL_PAD_SD3_CLK__SD3_CLK 0x100B9
				MX6QDL_PAD_SD3_DAT0__SD3_DATA0 0x170B9
				MX6QDL_PAD_SD3_DAT1__SD3_DATA1 0x170B9
				MX6QDL_PAD_SD3_DAT2__SD3_DATA2 0x170B9
				MX6QDL_PAD_SD3_DAT3__SD3_DATA3 0x170B9
				MX6QDL_PAD_SD3_DAT4__SD3_DATA4 0x170B9
				MX6QDL_PAD_SD3_DAT5__SD3_DATA5 0x170B9
				MX6QDL_PAD_SD3_DAT6__SD3_DATA6 0x170B9
				MX6QDL_PAD_SD3_DAT7__SD3_DATA7 0x170B9
			>;
		};

		pinctrl_usdhc3_1_200mhz: usdhc3grp-1-200mhz { /* 200Mhz */
			fsl,pins = <
				MX6QDL_PAD_SD3_CMD__SD3_CMD 0x170F9
				MX6QDL_PAD_SD3_CLK__SD3_CLK 0x100F9
				MX6QDL_PAD_SD3_DAT0__SD3_DATA0 0x170F9
				MX6QDL_PAD_SD3_DAT1__SD3_DATA1 0x170F9
				MX6QDL_PAD_SD3_DAT2__SD3_DATA2 0x170F9
				MX6QDL_PAD_SD3_DAT3__SD3_DATA3 0x170F9
				MX6QDL_PAD_SD3_DAT4__SD3_DATA4 0x170F9
				MX6QDL_PAD_SD3_DAT5__SD3_DATA5 0x170F9
				MX6QDL_PAD_SD3_DAT6__SD3_DATA6 0x170F9
				MX6QDL_PAD_SD3_DAT7__SD3_DATA7 0x170F9
			>;
		};

		pinctrl_usdhc3_2: usdhc3grp-2 {
			fsl,pins = <
				MX6QDL_PAD_SD3_CMD__SD3_CMD    0x17059
				MX6QDL_PAD_SD3_CLK__SD3_CLK    0x10059
				MX6QDL_PAD_SD3_DAT0__SD3_DATA0 0x17059
				MX6QDL_PAD_SD3_DAT1__SD3_DATA1 0x17059
				MX6QDL_PAD_SD3_DAT2__SD3_DATA2 0x17059
				MX6QDL_PAD_SD3_DAT3__SD3_DATA3 0x17059
			>;
		};
	};

	usdhc4 {
		pinctrl_usdhc4_1: usdhc4grp-1 {
			fsl,pins = <
				MX6QDL_PAD_SD4_CMD__SD4_CMD    0x17059
				MX6QDL_PAD_SD4_CLK__SD4_CLK    0x10059
				MX6QDL_PAD_SD4_DAT0__SD4_DATA0 0x17059
				MX6QDL_PAD_SD4_DAT1__SD4_DATA1 0x17059
				MX6QDL_PAD_SD4_DAT2__SD4_DATA2 0x17059
				MX6QDL_PAD_SD4_DAT3__SD4_DATA3 0x17059
				MX6QDL_PAD_SD4_DAT4__SD4_DATA4 0x17059
				MX6QDL_PAD_SD4_DAT5__SD4_DATA5 0x17059
				MX6QDL_PAD_SD4_DAT6__SD4_DATA6 0x17059
				MX6QDL_PAD_SD4_DAT7__SD4_DATA7 0x17059
			>;
		};

		pinctrl_usdhc4_2: usdhc4grp-2 {
			fsl,pins = <
				MX6QDL_PAD_SD4_CMD__SD4_CMD    0x17059
				MX6QDL_PAD_SD4_CLK__SD4_CLK    0x10059
				MX6QDL_PAD_SD4_DAT0__SD4_DATA0 0x17059
				MX6QDL_PAD_SD4_DAT1__SD4_DATA1 0x17059
				MX6QDL_PAD_SD4_DAT2__SD4_DATA2 0x17059
				MX6QDL_PAD_SD4_DAT3__SD4_DATA3 0x17059
			>;
		};
	};

	weim {
		pinctrl_weim_cs0_1: weim_cs0grp-1 {
			fsl,pins = <
				MX6QDL_PAD_EIM_CS0__EIM_CS0_B   0xb0b1
			>;
		};

		pinctrl_weim_nor_1: weim_norgrp-1 {
			fsl,pins = <
				MX6QDL_PAD_EIM_OE__EIM_OE_B     0xb0b1
				MX6QDL_PAD_EIM_RW__EIM_RW       0xb0b1
				MX6QDL_PAD_EIM_WAIT__EIM_WAIT_B 0xb060
				/* data */
				MX6QDL_PAD_EIM_D16__EIM_DATA16 0x1b0b0
				MX6QDL_PAD_EIM_D17__EIM_DATA17 0x1b0b0
				MX6QDL_PAD_EIM_D18__EIM_DATA18 0x1b0b0
				MX6QDL_PAD_EIM_D19__EIM_DATA19 0x1b0b0
				MX6QDL_PAD_EIM_D20__EIM_DATA20 0x1b0b0
				MX6QDL_PAD_EIM_D21__EIM_DATA21 0x1b0b0
				MX6QDL_PAD_EIM_D22__EIM_DATA22 0x1b0b0
				MX6QDL_PAD_EIM_D23__EIM_DATA23 0x1b0b0
				MX6QDL_PAD_EIM_D24__EIM_DATA24 0x1b0b0
				MX6QDL_PAD_EIM_D25__EIM_DATA25 0x1b0b0
				MX6QDL_PAD_EIM_D26__EIM_DATA26 0x1b0b0
				MX6QDL_PAD_EIM_D27__EIM_DATA27 0x1b0b0
				MX6QDL_PAD_EIM_D28__EIM_DATA28 0x1b0b0
				MX6QDL_PAD_EIM_D29__EIM_DATA29 0x1b0b0
				MX6QDL_PAD_EIM_D30__EIM_DATA30 0x1b0b0
				MX6QDL_PAD_EIM_D31__EIM_DATA31 0x1b0b0
				/* address */
				MX6QDL_PAD_EIM_A23__EIM_ADDR23 0xb0b1
				MX6QDL_PAD_EIM_A22__EIM_ADDR22 0xb0b1
				MX6QDL_PAD_EIM_A21__EIM_ADDR21 0xb0b1
				MX6QDL_PAD_EIM_A20__EIM_ADDR20 0xb0b1
				MX6QDL_PAD_EIM_A19__EIM_ADDR19 0xb0b1
				MX6QDL_PAD_EIM_A18__EIM_ADDR18 0xb0b1
				MX6QDL_PAD_EIM_A17__EIM_ADDR17 0xb0b1
				MX6QDL_PAD_EIM_A16__EIM_ADDR16 0xb0b1
				MX6QDL_PAD_EIM_DA15__EIM_AD15  0xb0b1
				MX6QDL_PAD_EIM_DA14__EIM_AD14  0xb0b1
				MX6QDL_PAD_EIM_DA13__EIM_AD13  0xb0b1
				MX6QDL_PAD_EIM_DA12__EIM_AD12  0xb0b1
				MX6QDL_PAD_EIM_DA11__EIM_AD11  0xb0b1
				MX6QDL_PAD_EIM_DA10__EIM_AD10  0xb0b1
				MX6QDL_PAD_EIM_DA9__EIM_AD09   0xb0b1
				MX6QDL_PAD_EIM_DA8__EIM_AD08   0xb0b1
				MX6QDL_PAD_EIM_DA7__EIM_AD07   0xb0b1
				MX6QDL_PAD_EIM_DA6__EIM_AD06   0xb0b1
				MX6QDL_PAD_EIM_DA5__EIM_AD05   0xb0b1
				MX6QDL_PAD_EIM_DA4__EIM_AD04   0xb0b1
				MX6QDL_PAD_EIM_DA3__EIM_AD03   0xb0b1
				MX6QDL_PAD_EIM_DA2__EIM_AD02   0xb0b1
				MX6QDL_PAD_EIM_DA1__EIM_AD01   0xb0b1
				MX6QDL_PAD_EIM_DA0__EIM_AD00   0xb0b1
			>;
		};
	};

	imx6qdl-picosom {
		pinctrl_hog_1: hoggrp-1 {
			fsl,pins = <
				MX6QDL_PAD_GPIO_0__CCM_CLKO1     	0x130b0
				MX6QDL_PAD_EIM_D22__USB_OTG_PWR		0x80000000	/* USB Power Enable */
				MX6QDL_PAD_GPIO_2__GPIO1_IO02		0x80000000	/* USDHC3 CD */
				MX6QDL_PAD_EIM_DA9__GPIO3_IO09		0x80000000	/* USDHC1 CD */
				MX6QDL_PAD_GPIO_0__CCM_CLKO1		0x000b0		/* SGTL5000 sys_mclk */
				MX6QDL_PAD_GPIO_6__GPIO1_IO06		0x0b0b0		/* ov5640 mipi powerdown */
				MX6QDL_PAD_GPIO_8__GPIO1_IO08		0x000b0		/* ov5640 mipi reset */
				MX6QDL_PAD_GPIO_3__CCM_CLKO2		0x000b0		/* ov5640 mclk */
				MX6QDL_PAD_EIM_D29__GPIO3_IO29   	0x80000000
				MX6QDL_PAD_ENET_RXD0__XTALOSC_REF_CLK_32K	0x000b0	/* wifi LPO 32K Hz clock */
			>;
		};
	};

	gpio {
		pinctrl_gpio: gpiogrp {
			fsl,pins = <
                                MX6QDL_PAD_EIM_DA12__GPIO3_IO12   0x4001b0b5 /* GPIO3_12 EDM pin 255 */
                                MX6QDL_PAD_EIM_DA11__GPIO3_IO11   0x4001b0b5 /* GPIO3_11 EDM pin 256 */
                                MX6QDL_PAD_EIM_DA10__GPIO3_IO10   0x4001b0b5 /* GPIO3_10 EDM pin 257 */
                                MX6QDL_PAD_EIM_D27__GPIO3_IO27    0x4001b0b5 /* GPIO3_27 EDM pin 258 */
                                MX6QDL_PAD_EIM_D26__GPIO3_IO26    0x4001b0b5 /* GPIO3_26 EDM pin 259 */
                                MX6QDL_PAD_EIM_BCLK__GPIO6_IO31   0x4001b0b5 /* GPIO6_31 EDM pin 260 */
                                MX6QDL_PAD_EIM_DA8__GPIO3_IO08    0x4001b0b5 /* GPIO3_8  EDM pin 261 */
                                MX6QDL_PAD_GPIO_19__GPIO4_IO05    0x4001b0b5 /* GPIO4_5  EDM pin 263 */
                                MX6QDL_PAD_SD3_RST__GPIO7_IO08    0x4001b0b5 /* GPIO7_8  EDM pin 264 */

			>;
		};
	};


	wifi_ctrl {
		pinctrl_wifi_ctrl: wifi_ctrlgrp {
			fsl,pins = <
				MX6QDL_PAD_GPIO_7__GPIO1_IO07	0x000b0		/* wifi-reg-on */
				MX6QDL_PAD_GPIO_16__GPIO7_IO11	0x80000000	/* wifi-host-wake */
			>;
		};
	};

	bluetooth_ctrl {
		pinctrl_bt_ctrl: bt_ctrlgrp {
			fsl,pins = <
				MX6QDL_PAD_GPIO_17__GPIO7_IO12	0x000b0		/* bluetooth-reg-on */
				MX6QDL_PAD_GPIO_4__GPIO1_IO04	0x000b0		/* bluetooth-wake */
				MX6QDL_PAD_GPIO_5__GPIO1_IO05   0x000b0		/* bluetooth-host-wake */
			>;
		};
	};

	pwm4 {
		pinctrl_pwm4_1: pwm4grp-1 {
			fsl,pins = <
				MX6QDL_PAD_SD4_DAT2__PWM4_OUT 0x1b0b1
			>;
		};
	};

	ecspi2 {
		pinctrl_ecspi2_1: ecspi2grp-1 {
			fsl,pins = <
				MX6QDL_PAD_EIM_OE__ECSPI2_MISO  0x1b0b1
				MX6QDL_PAD_EIM_CS1__ECSPI2_MOSI 0x1b0b1
				MX6QDL_PAD_EIM_CS0__ECSPI2_SCLK 0x1b0b1
				MX6QDL_PAD_EIM_RW__GPIO2_IO26 0x000f0b0
				MX6QDL_PAD_EIM_LBA__GPIO2_IO27 0x000f0b0
/*
				MX6QDL_PAD_EIM_RW__ECSPI2_SS0 0x000a0
				MX6QDL_PAD_EIM_LBA__ECSPI2_SS1 0x000a0
*/
			>;
		};
	};
};

&ldb {
	status = "okay";
	lvds-channel@0 {
		fsl,data-mapping = "spwg";
		fsl,data-width = <24>;
		primary;
		status = "okay";

		display-timings {
			native-mode = <&timing0>;
			timing0: hj070na {
				clock-frequency = <51000000>;
				hactive = <1024>;
				vactive = <600>;
				hback-porch = <90>;
				hfront-porch = <120>;
				vback-porch = <1>;
				vfront-porch = <1>;
				hsync-len = <100>;
				vsync-len = <33>;
			};
		};
	};
};

&mipi_csi {
	ipu_id = <0>;
	csi_id = <0>;
	v_channel = <0>;
	lanes = <2>;
	status = "okay";
};

&pwm3 {
	pinctrl-names = "default";
	pinctrl-0 = <&pinctrl_pwm3_1>;
	status = "okay";
};

&pwm4 {
	pinctrl-names = "default";
	pinctrl-0 = <&pinctrl_pwm4_1>;
	status = "okay";
};

&ssi1 {
	fsl,mode = "i2s-slave";
	status = "okay";
};

&uart1 {
	pinctrl-names = "default";
	pinctrl-0 = <&pinctrl_uart1_2>;
	fsl,uart-has-rtscts;
	status = "okay";
};

&uart2 {  /* Bluetooth module */
	pinctrl-names = "default";
	pinctrl-0 = <&pinctrl_uart2_2>;
	fsl,uart-has-rtscts;
	status = "okay";
};

&uart3 {
        pinctrl-names = "default";
        pinctrl-0 = <&pinctrl_uart3_3>;
        fsl,uart-has-rtscts;
        status = "okay";
};

&usbh1 {
	status = "okay";
};

&usbotg {
	vbus-supply = <&reg_usb_otg_vbus>;
	pinctrl-names = "default";
	pinctrl-0 = <&pinctrl_usbotg_2>;
	disable-over-current;
	dr_mode = "otg";
	status = "okay";
};

&usdhc1 {  /* Baseboard microSD slot */
	pinctrl-names = "default";
	pinctrl-0 = <&pinctrl_usdhc1_1>;
	bus-width = <4>;
	vmmc-supply = <&reg_3p3v>;
	cd-gpios = <&gpio3 9 0>;
	status = "okay";
};

&usdhc2 {  /* Broadcom Wifi/BT  */
	pinctrl-names = "default";
	pinctrl-0 = <&pinctrl_usdhc2_2>;
	bus-width = <4>;
	vmmc-supply = <&reg_3p3v>;
	enable-sdio-wakeup;
	keep-power-in-suspend;
	tuning-step = <2>;
	wifi-host;
	status = "okay";
};

&usdhc3 { /* Module microSD slot */
	pinctrl-names = "default";
	pinctrl-0 = <&pinctrl_usdhc3_2>;
	vmmc-supply = <&reg_3p3v>;
        cd-gpios = <&gpio1 2 0>;
	status = "okay";
};

&ecspi2 {
    fsl,spi-num-chipselects = <1>;
    cs-gpios = <&gpio2 27 0>; /* CS0 */
    pinctrl-names = "default";
    pinctrl-0 = <&pinctrl_ecspi2_1>;
    status = "okay";

    ads7846@0 {
        reg = <0>;  /* CS0 */
        compatible = "ti,ads7846";
        pinctrl-names = "default";
        interrupt-parent = <&gpio5>;
        interrupts = <27 0>;
        spi-max-frequency = <1000000>;
        pendown-gpio = <&gpio5 27 0>;
        vcc-supply = <&reg_3p3v>;

        ti,x-min = /bits/ 16 <0>;
        ti,x-max = /bits/ 16 <4095>;
        ti,y-min = /bits/ 16 <0>;
        ti,y-max = /bits/ 16 <4095>;
        ti,pressure-max = /bits/ 16 <1024>;
        ti,x-plate-ohms = /bits/ 16 <90>;
        ti,y-plate-ohms = /bits/ 16 <90>;
        ti,debounce-max = /bits/ 16 <70>;
        ti,debounce-tol = /bits/ 16 <3>;
        ti,debounce-rep = /bits/ 16 <2>;
        ti,settle-delay-usec = /bits/ 16 <150>;
        linux,wakeup;
    };
};
